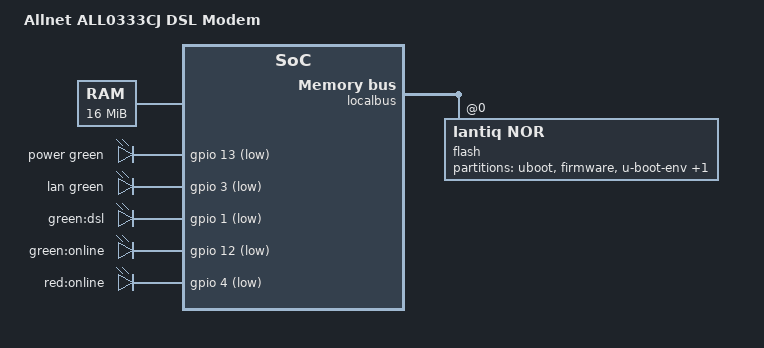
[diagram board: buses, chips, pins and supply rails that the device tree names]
#include <dt-bindings/leds/common.h>

#include "amazonse.dtsi"

/ {
	compatible = "allnet,all0333cj", "lantiq,xway", "lantiq,ase";
	model = "Allnet ALL0333CJ DSL Modem";

	chosen {
		bootargs = "console=ttyLTQ0,115200";

		aliases {
			led-boot = &power;
			led-failsafe = &power;
			led-running = &power;
			led-upgrade = &power;

			led-dsl = &dsl;
			led-internet = &online_green;
		};
	};

	memory@0 {
		device_type = "memory";
		reg = <0x0 0x1000000>;
	};

	leds {
		compatible = "gpio-leds";

		/* power led: red=off, green=on */
		power: power {
			function = LED_FUNCTION_POWER;
			color = <LED_COLOR_ID_GREEN>;
			gpios = <&gpio 13 GPIO_ACTIVE_LOW>;
			default-state = "keep";
		};

		lan: lan {
			function = LED_FUNCTION_LAN;
			color = <LED_COLOR_ID_GREEN>;
			gpios = <&gpio 3 GPIO_ACTIVE_LOW>;
		};

		dsl: dsl {
			label = "green:dsl";
			gpios = <&gpio 1 GPIO_ACTIVE_LOW>;
		};

		online_green: online {
			label = "green:online";
			gpios = <&gpio 12 GPIO_ACTIVE_LOW>;
		};
		online_red {
			label = "red:online";
			gpios = <&gpio 4 GPIO_ACTIVE_LOW>;
		};
	};
};

&gpio {
	pinctrl-names = "default";
	pinctrl-0 = <&state_default>;

	state_default: pinmux {
		keys_in {
			lantiq,pins = "io0",/* "io25", */"io29";
			lantiq,pull = <2>;
			lantiq,open-drain = <1>;
		};
	};
};

&gsw {
	phy-mode = "mii";

	nvmem-cells = <&macaddr_uboot_ethaddr 0>;
	nvmem-cell-names = "mac-address";
};

&ppe {
	nvmem-cells = <&macaddr_uboot_ethaddr 1>;
	nvmem-cell-names = "mac-address";
};

&localbus {
	flash@0 {
		compatible = "lantiq,nor";
		bank-width = <2>;
		reg = <0 0x0 0x400000>;

		partitions {
			compatible = "fixed-partitions";
			#address-cells = <1>;
			#size-cells = <1>;

			partition@0 {
				label = "uboot";
				reg = <0x00000 0x10000>;
				read-only;
			};

			partition@10000 {
				label = "firmware";
				reg = <0x10000 0x3ef200>;
			};

			partition@3ff200 {
				label = "u-boot-env";
				reg = <0x3ff200 0xc00>;
				read-only;

				nvmem-layout {
					compatible = "u-boot,env";

					macaddr_uboot_ethaddr: ethaddr {
						#nvmem-cell-cells = <1>;
					};
				};
			};

			partition@3ffe00 {
				label = "dummy_bits";
				reg = <0x3ffe00 0x200>;
				read-only;
			};
		};
	};
};
